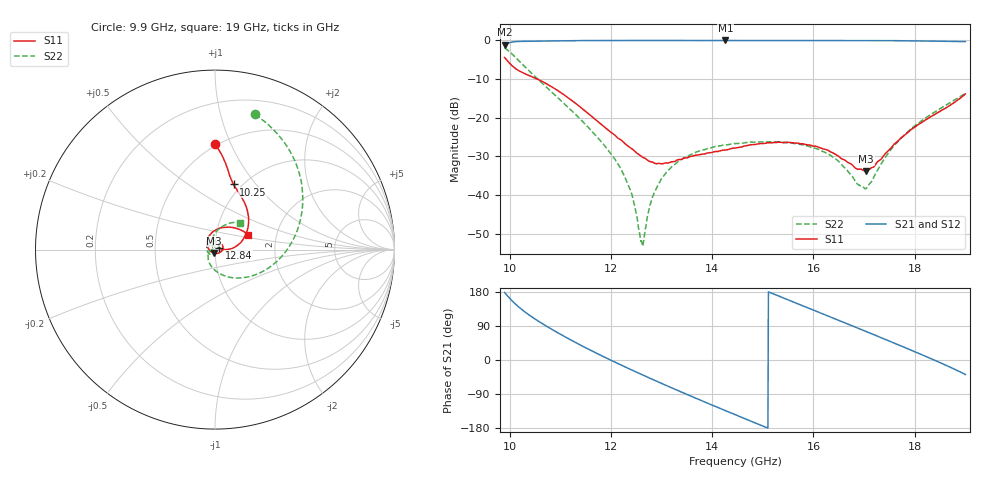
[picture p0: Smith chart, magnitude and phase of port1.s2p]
! RsaToolbox (C) 2015 Rohde & Schwarz America
! Number of points: 911
! Number of ports: 2
! Balanced ports?: No
# Hz S RI R 50
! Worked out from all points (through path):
!   911 points, 9.9 GHz to 19 GHz, reference 50 ohm
!   highest |S21| = -0.22 dB at 14.26 GHz (marker M1); lowest = -1.3 dB at 9.9 GHz (marker M2)
!   group delay of S21, straight-line fit = 163 ps
!   lowest |S11| = -33.8 dB at 17.04 GHz (marker M3), VSWR 1.04, Z = 49.2 - j1.86 ohm
!   |S11| at or under -10 dB: 10.52 GHz to end of sweep
!   |S22| runs from -53.0 to -2.1 dB; largest |S21 - S12| = 0
!   S11 on the Smith chart (normalised r, x): 9.9 GHz: 0.48, +0.87; 10.25 GHz: 0.92, +0.78; 12.84 GHz: 1.05, +0.02; 19 GHz: 1.42, +0.25
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9.9e9  -0.00224 0.5882  -0.857 0.0298  -0.857 0.0298  0.2233 0.7536
1.006e10  0.07 0.4497  -0.8419 0.4005  -0.8419 0.4005  0.4643 0.4431
1.025e10  0.1031 0.3633  -0.6374 0.7054  -0.6374 0.7054  0.4657 0.1289
1.05e10  0.1543 0.2816  -0.2985 0.9058  -0.2985 0.9058  0.3254 -0.0824
1.078e10  0.1869 0.1796  0.0832 0.956  0.0832 0.956  0.1652 -0.1554
1.142e10  0.1292 0.0264  0.7672 0.5962  0.7672 0.5962  -0.0235 -0.0887
1.181e10  0.0819 0.00253  0.9537 0.1964  0.9537 0.1964  -0.0384 -0.0304
1.221e10  0.0508 0.000466  0.9456 -0.2344  0.9456 -0.2344  -0.021 -0.00104
1.242e10  0.0393 0.00237  0.8689 -0.4411  0.8689 -0.4411  -0.00972 0.00185
1.261e10  0.031 0.00549  0.7629 -0.6066  0.7629 -0.6066  -0.00182 -0.00167
1.284e10  0.024 0.0107  0.5964 -0.7713  0.5964 -0.7713  0.00337 -0.00953
1.294e10  0.0224 0.0128  0.5134 -0.8288  0.5134 -0.8288  0.00359 -0.0135
1.358e10  0.0196 0.025  -0.091 -0.9708  -0.091 -0.9708  -0.0164 -0.0292
1.426e10  0.0231 0.0306  -0.6726 -0.7061  -0.6726 -0.7061  -0.0441 -0.00586
1.445e10  0.0251 0.0317  -0.7902 -0.5714  -0.7902 -0.5714  -0.0459 0.00634
1.52e10  0.0388 0.0276  -0.9712 0.0878  -0.9712 0.0878  -0.0199 0.0445
1.597e10  0.0433 0.00317  -0.6673 0.7109  -0.6673 0.7109  0.0194 0.0365
1.652e10  0.0261 -0.0165  -0.2268 0.9477  -0.2268 0.9477  0.021 0.016
1.704e10  -0.00802 -0.0189  0.2485 0.9409  0.2485 0.9409  0.00224 0.0121
1.749e10  -0.0375 0.00658  0.6176 0.7481  0.6176 0.7481  -0.0134 0.0331
1.827e10  -0.014 0.0971  0.9524 0.1083  0.9524 0.1083  0.0101 0.1039
1.9e10  0.1829 0.0828  0.7414 -0.5848  0.7414 -0.5848  0.137 0.1484
